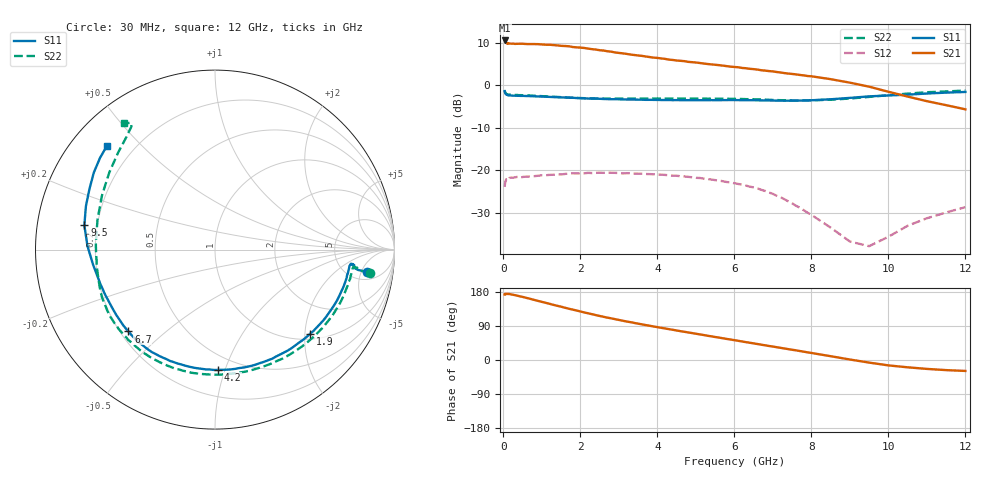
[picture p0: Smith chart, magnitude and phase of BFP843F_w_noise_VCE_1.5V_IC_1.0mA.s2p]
! Infineon Technologies  Discrete & RF Semiconductors
! BFP843F
! VCE =  1.5 V,  IC =  1.0 mA
! Common Emitter S-Parameters:  Aug 2013
# GHz  S  MA  R  50
!  f  S11  S21  S12  S22
! GHz  MAG  ANG  MAG  ANG  MAG  ANG  MAG  ANG
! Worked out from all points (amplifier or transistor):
!   103 points, 30 MHz to 12 GHz, reference 50 ohm
!   highest |S21| = 10.6 dB at 30 MHz (marker M1)
!   |S21| within 3 dB of that: start of sweep to 3.062 GHz
!   unconditionally stable (mu >= 1): 93.99 MHz to 981.2 MHz; 4.599956 GHz to 4.601708 GHz; 4.702 GHz to end of sweep
!   at 400 MHz: K = 1.03, MAG = 14.6 dB, |S12| = -21.6 dB
!   at 3.7 GHz: K = 0.94, MSG = 13.8 dB, |S12| = -20.9 dB
!   at 12 GHz: K = 2.19, MAG = 5.4 dB, |S12| = -28.7 dB
!   lowest NFmin = 1.53 dB at 450 MHz
!   S11 on the Smith chart (normalised r, x): 30 MHz: 6.91, -6.31; 1.9 GHz: 1.13, -2.12; 4.2 GHz: 0.39, -0.95; 6.7 GHz: 0.23, -0.38; 9.5 GHz: 0.15, +0.09; 12 GHz: 0.10, +0.40
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0.03  0.8544 -8.3  3.377 172.6  0.0634 38.8  0.8709 -8.5
0.04  0.8227 -8.2  3.287 172.5  0.0686 30.7  0.8382 -8.3
0.05  0.8057 -8.1  3.217 174.2  0.073 24.0  0.8211 -8.3
0.07  0.7823 -7.1  3.152 174.3  0.0783 20.5  0.7968 -7.2
0.15  0.7607 -6.1  3.123 174.2  0.0806 9.4  0.7749 -7.5
0.9  0.7391 -20.3  3.054 155.9  0.0859 0.6  0.7503 -29.2
1.4  0.7237 -31.1  2.953 143.0  0.0893 -2.8  0.7288 -45.3
1.9  0.7077 -41.6  2.801 130.6  0.0913 -6.2  0.7097 -61.3
2.1  0.7021 -46.0  2.753 125.5  0.0918 -8.2  0.705 -67.5
2.8  0.6859 -60.4  2.491 109.9  0.093 -14.9  0.6971 -86.9
3.4  0.6788 -72.4  2.275 97.8  0.0912 -20.9  0.6986 -100.8
4.1  0.6708 -86.4  2.073 84.9  0.0884 -27.4  0.6981 -114.2
4.2  0.6705 -88.4  2.048 83.1  0.0878 -28.7  0.6989 -116.0
5.1  0.667 -106.3  1.832 67.6  0.0808 -37.9  0.6956 -131.9
6.1  0.669 -125.4  1.632 50.6  0.0687 -49.4  0.6911 -148.8
6.7  0.6637 -136.6  1.504 40.4  0.0586 -57.4  0.6804 -158.9
7.6  0.6587 -154.5  1.345 25.5  0.038 -66.0  0.6622 -175.0
8.5  0.6841 -172.8  1.181 10.0  0.021 -57.8  0.6759 165.6
9  0.7108 178.4  1.074 1.3  0.0144 -40.8  0.6984 154.3
9.5  0.7403 169.5  0.963 -6.9  0.0127 -7.6  0.7294 143.8
10.5  0.7762 154.4  0.736 -19.3  0.0221 28.3  0.7982 128.2
12  0.8347 136.1  0.521 -28.9  0.0366 37.8  0.8675 125.7
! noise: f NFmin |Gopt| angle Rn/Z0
0.45  1.53  0.43  11  0.36
0.9  1.54  0.44  19  0.36
1.5  1.7  0.44  27  0.37
1.9  1.8  0.43  38  0.38
2.4  1.86  0.43  49  0.39
3.5  2.02  0.46  72  0.44
5.5  2.23  0.42  117  0.53
10  4.06  0.58  -144  0.6
